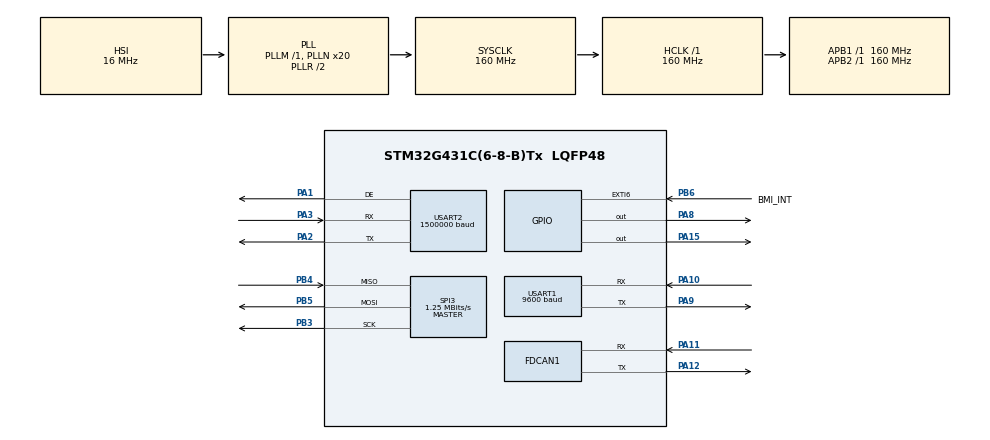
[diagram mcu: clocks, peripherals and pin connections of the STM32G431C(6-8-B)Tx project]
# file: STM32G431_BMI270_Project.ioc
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Dma.Request0=USART1_RX
Dma.Request1=USART1_TX
Dma.USART1_RX.0.Direction=DMA_PERIPH_TO_MEMORY
Dma.USART1_RX.0.EventEnable=DISABLE
Dma.USART1_RX.0.Instance=DMA1_Channel1
Dma.USART1_RX.0.MemDataAlignment=DMA_MDATAALIGN_BYTE
Dma.USART1_RX.0.MemInc=DMA_MINC_ENABLE
Dma.USART1_RX.0.Mode=DMA_CIRCULAR
Dma.USART1_RX.0.PeriphDataAlignment=DMA_PDATAALIGN_BYTE
Dma.USART1_RX.0.PeriphInc=DMA_PINC_DISABLE
Dma.USART1_RX.0.Polarity=HAL_DMAMUX_REQ_GEN_RISING
Dma.USART1_RX.0.Priority=DMA_PRIORITY_LOW
Dma.USART1_RX.0.RequestNumber=1
Dma.USART1_RX.0.SignalID=NONE
Dma.USART1_RX.0.SyncEnable=DISABLE
Dma.USART1_RX.0.SyncPolarity=HAL_DMAMUX_SYNC_NO_EVENT
Dma.USART1_RX.0.SyncRequestNumber=1
Dma.USART1_RX.0.SyncSignalID=NONE
Dma.USART1_TX.1.Direction=DMA_MEMORY_TO_PERIPH
Dma.USART1_TX.1.EventEnable=DISABLE
Dma.USART1_TX.1.Instance=DMA1_Channel2
Dma.USART1_TX.1.MemDataAlignment=DMA_MDATAALIGN_BYTE
Dma.USART1_TX.1.MemInc=DMA_MINC_ENABLE
Dma.USART1_TX.1.Mode=DMA_NORMAL
Dma.USART1_TX.1.PeriphDataAlignment=DMA_PDATAALIGN_BYTE
Dma.USART1_TX.1.PeriphInc=DMA_PINC_DISABLE
Dma.USART1_TX.1.Polarity=HAL_DMAMUX_REQ_GEN_RISING
Dma.USART1_TX.1.Priority=DMA_PRIORITY_LOW
Dma.USART1_TX.1.RequestNumber=1
Dma.USART1_TX.1.SignalID=NONE
Dma.USART1_TX.1.SyncEnable=DISABLE
Dma.USART1_TX.1.SyncPolarity=HAL_DMAMUX_SYNC_NO_EVENT
Dma.USART1_TX.1.SyncRequestNumber=1
Dma.USART1_TX.1.SyncSignalID=NONE
FDCAN1.CalculateBaudRateNominal=250000
FDCAN1.CalculateTimeBitNominal=4000
FDCAN1.CalculateTimeQuantumNominal=250.0
FDCAN1.ClockDivider=FDCAN_CLOCK_DIV2
FDCAN1.DataPrescaler=20
FDCAN1.DataTimeSeg1=10
FDCAN1.NominalPrescaler=20
FDCAN1.NominalTimeSeg1=10
FDCAN1.NominalTimeSeg2=5
FDCAN1.StdFiltersNbr=1
Mcu.Family=STM32G4
Mcu.Name=STM32G431C(6-8-B)Tx
Mcu.Package=LQFP48
NVIC.DMA1_Channel1_IRQn=true\:1\:1\:true\:false\:true\:true\:true\:true
NVIC.DMA1_Channel2_IRQn=true\:1\:0\:true\:false\:true\:true\:true\:true
NVIC.EXTI9_5_IRQn=true\:0\:0\:false\:false\:true\:true\:true\:true
NVIC.FDCAN1_IT0_IRQn=true\:2\:0\:true\:false\:true\:true\:true\:true
NVIC.PriorityGroup=NVIC_PRIORITYGROUP_3
NVIC.TIM2_IRQn=true\:0\:1\:false\:false\:true\:true\:true\:true
NVIC.TIM4_IRQn=true\:0\:0\:false\:false\:true\:true\:true\:true
NVIC.USART1_IRQn=true\:1\:0\:true\:false\:true\:true\:true\:true
NVIC.USART2_IRQn=true\:1\:0\:true\:false\:true\:true\:true\:true
PA1.Mode=Hardware Flow Control (RS485)
PA1.Signal=USART2_DE
PA10.Mode=Asynchronous
PA10.Signal=USART1_RX
PA11.Mode=FDCAN_Activate
PA11.Signal=FDCAN1_RX
PA12.Mode=FDCAN_Activate
PA12.Signal=FDCAN1_TX
PA13.Mode=Serial_Wire
PA13.Signal=SYS_JTMS-SWDIO
PA14.Mode=Serial_Wire
PA14.Signal=SYS_JTCK-SWCLK
PA15.PinState=GPIO_PIN_SET
PA15.Signal=GPIO_Output
PA2.Mode=Asynchronous
PA2.Signal=USART2_TX
PA3.Mode=Asynchronous
PA3.Signal=USART2_RX
PA8.Signal=GPIO_Output
PA9.Mode=Asynchronous
PA9.Signal=USART1_TX
PB3.Mode=Full_Duplex_Master
PB3.Signal=SPI3_SCK
PB4.Mode=Full_Duplex_Master
PB4.Signal=SPI3_MISO
PB5.Mode=Full_Duplex_Master
PB5.Signal=SPI3_MOSI
PB6.GPIO_Label=BMI_INT
PB6.GPIO_ModeDefaultEXTI=GPIO_MODE_IT_RISING
PB6.Signal=GPXTI6
PF0-OSC_IN.Mode=HSE-External-Oscillator
PF0-OSC_IN.Signal=RCC_OSC_IN
PF1-OSC_OUT.Mode=HSE-External-Oscillator
PF1-OSC_OUT.Signal=RCC_OSC_OUT
ProjectManager.HeapSize=0x400
ProjectManager.StackSize=0x800
ProjectManager.TargetToolchain=MDK-ARM V5.32
RCC.ADC12Freq_Value=160000000
RCC.AHBFreq_Value=160000000
RCC.APB1Freq_Value=160000000
RCC.APB1TimFreq_Value=160000000
RCC.APB2Freq_Value=160000000
RCC.APB2TimFreq_Value=160000000
RCC.CortexFreq_Value=160000000
RCC.EXTERNAL_CLOCK_VALUE=12288000
RCC.HCLKFreq_Value=160000000
RCC.HSE_VALUE=8000000
RCC.HSI48_VALUE=48000000
RCC.HSI_VALUE=16000000
RCC.LSE_VALUE=32768
RCC.PLLN=20
RCC.PLLQ=RCC_PLLQ_DIV6
RCC.SYSCLKFreq_VALUE=160000000
RCC.SYSCLKSource=RCC_SYSCLKSOURCE_PLLCLK
RCC.USBFreq_Value=53333333.333333336
RCC.VCOOutputFreq_Value=320000000
SPI3.BaudRatePrescaler=SPI_BAUDRATEPRESCALER_128
SPI3.CLKPhase=SPI_PHASE_1EDGE
SPI3.CLKPolarity=SPI_POLARITY_LOW
SPI3.CalculateBaudRate=1.25 MBits/s
SPI3.DataSize=SPI_DATASIZE_8BIT
SPI3.Direction=SPI_DIRECTION_2LINES
SPI3.Mode=SPI_MODE_MASTER
SPI3.NSSPMode=SPI_NSS_PULSE_DISABLE
SPI3.VirtualType=VM_MASTER
TIM2.AutoReloadPreload=TIM_AUTORELOAD_PRELOAD_ENABLE
TIM2.PeriodNoDither=4999
TIM2.Prescaler=15999
TIM4.AutoReloadPreload=TIM_AUTORELOAD_PRELOAD_ENABLE
TIM4.PeriodNoDither=4999
TIM4.Prescaler=159
USART1.BaudRate=9600
USART1.VirtualMode-Asynchronous=VM_ASYNC
USART2.BaudRate=1500000
USART2.VirtualMode-Asynchronous=VM_ASYNC
USART2.VirtualMode-Hardware\ Flow\ Control\ (RS485)=VM_ASYNC
VP_SYS_VS_DBSignals.Mode=DisableDeadBatterySignals
VP_TIM2_VS_ClockSourceINT.Mode=Internal
VP_TIM4_VS_ClockSourceINT.Mode=Internal
board=custom

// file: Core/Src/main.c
/* USER CODE BEGIN Header */
/**
  ******************************************************************************
  * @file           : main.c
  * @brief          : Main program body
  ******************************************************************************
  * @attention
  *
  * Copyright (c) 2025 STMicroelectronics.
  * All rights reserved.
  *
  * This software is licensed under terms that can be found in the LICENSE file
  * in the root directory of this software component.
  * If no LICENSE file comes with this software, it is provided AS-IS.
  *
  ******************************************************************************
  */
/* USER CODE END Header */
#include "main.h"
#include "dma.h"
#include "fdcan.h"
#include "spi.h"
#include "tim.h"
#include "usart.h"
#include "gpio.h"

/* USER CODE BEGIN Includes */

#include "bmi270.h"
#include "stdio.h"
#include "can_api.h"
#include "angle_calc.h"

/* USER CODE END Includes */

/* USER CODE BEGIN PD */

uint8_t status = 0;
float acc_gyro_buffer[6] = {0.0f}; // accel_x, y, z, gyro_x, y, z

uint32_t can_receive_time = 0;
uint32_t current_time = 0;
uint8_t recv_messages = 0;

volatile uint8_t read_gsensor_flag = 0;

extern uint8_t uart_send_buff_test[32];

// extern volatile uint8_t read_gsensor_flag;

/* USER CODE END PD */

void SystemClock_Config(void);

/* USER CODE BEGIN 0 */

  // Test can send data
  uint8_t tx_data[8] = {0x11, 0x22, 0x33, 0x44, 0x55, 0x66, 0xaa, 0xbb};
  uint8_t data_len = 8;
  uint32_t can_id = 0x101;    // CAN ID

  extern uint32_t CAN_receive_count;
  extern volatile uint8_t FDCAN_recv_flag;

/* USER CODE END 0 */

int main(void)
{

  /* MCU Configuration--------------------------------------------------------*/

  /* Reset of all peripherals, Initializes the Flash interface and the Systick. */
  HAL_Init();

  /* USER CODE BEGIN Init */
    uint8_t data = 0;

  /* USER CODE END Init */

  /* Configure the system clock */
  SystemClock_Config();

  /* Initialize all configured peripherals */
  MX_GPIO_Init();
  MX_DMA_Init();
  MX_SPI3_Init();
  MX_USART2_UART_Init();
  MX_TIM4_Init();
  MX_FDCAN1_Init();
  MX_USART1_UART_Init();
  MX_TIM2_Init();
  /* USER CODE BEGIN 2 */

    // Set the CS to high
    HAL_GPIO_WritePin(GPIOA, GPIO_PIN_15, GPIO_PIN_SET);
    // CAN sensor reset
    HAL_GPIO_WritePin(GPIOA, GPIO_PIN_8, GPIO_PIN_RESET);

    status = BMI270_Init();
    HAL_Delay(10);
    // printf("sensor init finsh.\n");

    if (status)
    {
        // You shouldn't be here!!
        printf("sensor init failed.\n");
    }

    UART1_Receive_Start();
    // HAL_UARTEx_ReceiveToIdle_DMA(&huart2, rxBuf, sizeof(rxBuf));

    // Enable time interrupt
    HAL_TIM_Base_Start_IT(&htim4);
    HAL_TIM_Base_Start_IT(&htim2);

    FDCAN_Init();
    motor_control_buff_init();

    Calibrate_Gyro(100, 10); // Gyroscope calibration
    idcu_main();

  /* USER CODE END 2 */

  /* Infinite loop */
    while (1)
    {

    /* USER CODE BEGIN 3 */

        // if (FDCAN_recv_flag == 1)
        if (0)
        {

            // send can data
            HAL_StatusTypeDef status = CAN_send_message(can_id, tx_data, data_len);
            // printf("--FDCAN send souress. \n");
            FDCAN_recv_flag = 0;
        }

        //  if (recv_messages)
        if (0)
        {
            // current_time = HAL_GetTick();
            // if ((current_time - can_receive_time) >= 250)
            // {
            //    recv_messages = 0;
            //     motor_controller_buff();
            // }

            HAL_Delay(50);
            recv_messages = 0;
        }

        // if (rx_complete)
        if (0)
        {
            HAL_UART_Transmit(&huart1, uart_send_buff_test, rx_data_size, HAL_MAX_DELAY);
            // HAL_UART_Transmit(&huart1, (uint8_t *)str, strlen(str), HAL_MAX_DELAY);

            rx_complete = 0;
        }

        HAL_Delay(500);

        // HAL_Delay(1000);

        }

  /* USER CODE END 3 */
}

void SystemClock_Config(void)
{
  RCC_OscInitTypeDef RCC_OscInitStruct = {0};
  RCC_ClkInitTypeDef RCC_ClkInitStruct = {0};

  /** Configure the main internal regulator output voltage
  */
  HAL_PWREx_ControlVoltageScaling(PWR_REGULATOR_VOLTAGE_SCALE1_BOOST);

  /** Initializes the RCC Oscillators according to the specified parameters
  * in the RCC_OscInitTypeDef structure.
  */
  RCC_OscInitStruct.OscillatorType = RCC_OSCILLATORTYPE_HSI;
  RCC_OscInitStruct.HSIState = RCC_HSI_ON;
  RCC_OscInitStruct.HSICalibrationValue = RCC_HSICALIBRATION_DEFAULT;
  RCC_OscInitStruct.PLL.PLLState = RCC_PLL_ON;
  RCC_OscInitStruct.PLL.PLLSource = RCC_PLLSOURCE_HSI;
  RCC_OscInitStruct.PLL.PLLM = RCC_PLLM_DIV1;
  RCC_OscInitStruct.PLL.PLLN = 20;
  RCC_OscInitStruct.PLL.PLLP = RCC_PLLP_DIV2;
  RCC_OscInitStruct.PLL.PLLQ = RCC_PLLQ_DIV6;
  RCC_OscInitStruct.PLL.PLLR = RCC_PLLR_DIV2;
  if (HAL_RCC_OscConfig(&RCC_OscInitStruct) != HAL_OK)
  {
    Error_Handler();
  }

  /** Initializes the CPU, AHB and APB buses clocks
  */
  RCC_ClkInitStruct.ClockType = RCC_CLOCKTYPE_HCLK|RCC_CLOCKTYPE_SYSCLK
                              |RCC_CLOCKTYPE_PCLK1|RCC_CLOCKTYPE_PCLK2;
  RCC_ClkInitStruct.SYSCLKSource = RCC_SYSCLKSOURCE_PLLCLK;
  RCC_ClkInitStruct.AHBCLKDivider = RCC_SYSCLK_DIV1;
  RCC_ClkInitStruct.APB1CLKDivider = RCC_HCLK_DIV1;
  RCC_ClkInitStruct.APB2CLKDivider = RCC_HCLK_DIV1;

  if (HAL_RCC_ClockConfig(&RCC_ClkInitStruct, FLASH_LATENCY_4) != HAL_OK)
  {
    Error_Handler();
  }
}

void Error_Handler(void)
{
  __disable_irq();
  while (1)
  {
  }
}
